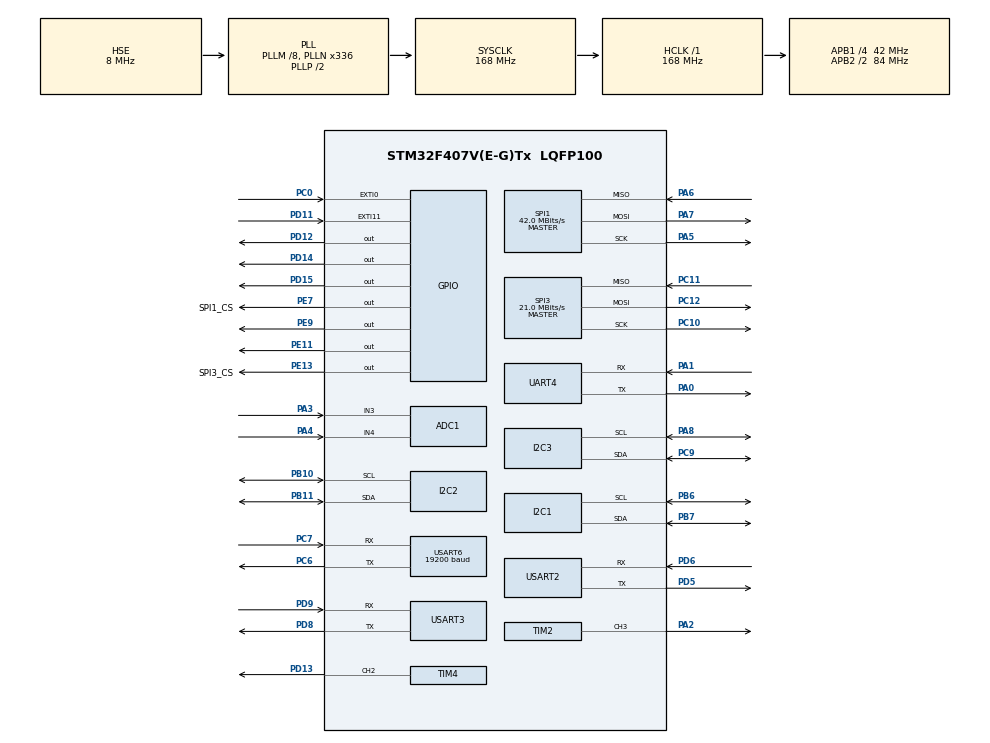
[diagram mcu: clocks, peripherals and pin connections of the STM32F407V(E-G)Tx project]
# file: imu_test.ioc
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ADC1.Channel-0\#ChannelRegularConversion=ADC_CHANNEL_3
ADC1.NbrOfConversionFlag=1
ADC1.Rank-0\#ChannelRegularConversion=1
ADC1.SamplingTime-0\#ChannelRegularConversion=ADC_SAMPLETIME_3CYCLES
ADC1.master=1
Dma.Request0=USART6_RX
Dma.USART6_RX.0.Direction=DMA_PERIPH_TO_MEMORY
Dma.USART6_RX.0.FIFOMode=DMA_FIFOMODE_DISABLE
Dma.USART6_RX.0.Instance=DMA2_Stream1
Dma.USART6_RX.0.MemDataAlignment=DMA_MDATAALIGN_BYTE
Dma.USART6_RX.0.MemInc=DMA_MINC_ENABLE
Dma.USART6_RX.0.Mode=DMA_NORMAL
Dma.USART6_RX.0.PeriphDataAlignment=DMA_PDATAALIGN_BYTE
Dma.USART6_RX.0.PeriphInc=DMA_PINC_DISABLE
Dma.USART6_RX.0.Priority=DMA_PRIORITY_LOW
Mcu.Family=STM32F4
Mcu.Name=STM32F407V(E-G)Tx
Mcu.Package=LQFP100
NVIC.DMA2_Stream1_IRQn=true\:0\:0\:false\:false\:true\:false
NVIC.PriorityGroup=NVIC_PRIORITYGROUP_4
NVIC.TIM8_TRG_COM_TIM14_IRQn=true\:0\:0\:false\:false\:true\:true
PA0-WKUP.Mode=Asynchronous
PA0-WKUP.Signal=UART4_TX
PA1.Mode=Asynchronous
PA1.Signal=UART4_RX
PA13.Mode=Trace_Asynchronous_SW
PA13.Signal=SYS_JTMS-SWDIO
PA14.Mode=Trace_Asynchronous_SW
PA14.Signal=SYS_JTCK-SWCLK
PA2.Signal=S_TIM2_CH3
PA3.Signal=ADCx_IN3
PA4.Signal=ADCx_IN4
PA5.Mode=Full_Duplex_Master
PA5.Signal=SPI1_SCK
PA6.Mode=Full_Duplex_Master
PA6.Signal=SPI1_MISO
PA7.Mode=Full_Duplex_Master
PA7.Signal=SPI1_MOSI
PA8.Mode=I2C
PA8.Signal=I2C3_SCL
PB10.Mode=I2C
PB10.Signal=I2C2_SCL
PB11.Mode=I2C
PB11.Signal=I2C2_SDA
PB3.Mode=Trace_Asynchronous_SW
PB3.Signal=SYS_JTDO-SWO
PB6.Mode=I2C
PB6.Signal=I2C1_SCL
PB7.Mode=I2C
PB7.Signal=I2C1_SDA
PC0.Signal=GPXTI0
PC10.Mode=Full_Duplex_Master
PC10.Signal=SPI3_SCK
PC11.Mode=Full_Duplex_Master
PC11.Signal=SPI3_MISO
PC12.Mode=Full_Duplex_Master
PC12.Signal=SPI3_MOSI
PC6.Mode=Asynchronous
PC6.Signal=USART6_TX
PC7.Mode=Asynchronous
PC7.Signal=USART6_RX
PC9.Mode=I2C
PC9.Signal=I2C3_SDA
PD11.Signal=GPXTI11
PD12.Signal=GPIO_Output
PD13.Signal=S_TIM4_CH2
PD14.Signal=GPIO_Output
PD15.Signal=GPIO_Output
PD5.Mode=Asynchronous
PD5.Signal=USART2_TX
PD6.Mode=Asynchronous
PD6.Signal=USART2_RX
PD8.Mode=Asynchronous
PD8.Signal=USART3_TX
PD9.Mode=Asynchronous
PD9.Signal=USART3_RX
PE11.Signal=GPIO_Output
PE13.GPIO_Label=SPI3_CS
PE13.GPIO_Speed=GPIO_SPEED_FREQ_VERY_HIGH
PE13.PinState=GPIO_PIN_SET
PE13.Signal=GPIO_Output
PE7.GPIO_Label=SPI1_CS
PE7.GPIO_Speed=GPIO_SPEED_FREQ_VERY_HIGH
PE7.PinState=GPIO_PIN_SET
PE7.Signal=GPIO_Output
PE9.Signal=GPIO_Output
PH0-OSC_IN.Mode=HSE-External-Oscillator
PH0-OSC_IN.Signal=RCC_OSC_IN
PH1-OSC_OUT.Mode=HSE-External-Oscillator
PH1-OSC_OUT.Signal=RCC_OSC_OUT
ProjectManager.HeapSize=0x200
ProjectManager.StackSize=0x400
ProjectManager.TargetToolchain=Makefile
RCC.48MHZClocksFreq_Value=84000000
RCC.AHBFreq_Value=168000000
RCC.APB1CLKDivider=RCC_HCLK_DIV4
RCC.APB1Freq_Value=42000000
RCC.APB1TimFreq_Value=84000000
RCC.APB2CLKDivider=RCC_HCLK_DIV2
RCC.APB2Freq_Value=84000000
RCC.APB2TimFreq_Value=168000000
RCC.CortexFreq_Value=168000000
RCC.HCLKFreq_Value=168000000
RCC.HSE_VALUE=8000000
RCC.HSI_VALUE=16000000
RCC.LSE_VALUE=32768
RCC.PLLM=8
RCC.PLLN=336
RCC.PLLSourceVirtual=RCC_PLLSOURCE_HSE
RCC.SYSCLKFreq_VALUE=168000000
RCC.SYSCLKSource=RCC_SYSCLKSOURCE_PLLCLK
RCC.VCOOutputFreq_Value=336000000
SH.ADCx_IN3.0=ADC1_IN3,IN3
SH.ADCx_IN4.0=ADC1_IN4,IN4
SH.S_TIM2_CH3.0=TIM2_CH3,PWM Generation3 CH3
SH.S_TIM4_CH2.0=TIM4_CH2,PWM Generation2 CH2
SPI1.BaudRatePrescaler=SPI_BAUDRATEPRESCALER_2
SPI1.CalculateBaudRate=42.0 MBits/s
SPI1.Direction=SPI_DIRECTION_2LINES
SPI1.Mode=SPI_MODE_MASTER
SPI1.VirtualType=VM_MASTER
SPI3.BaudRatePrescaler=SPI_BAUDRATEPRESCALER_2
SPI3.CalculateBaudRate=21.0 MBits/s
SPI3.Direction=SPI_DIRECTION_2LINES
SPI3.Mode=SPI_MODE_MASTER
SPI3.VirtualType=VM_MASTER
TIM14.Period=3999
TIM14.Prescaler=41999
TIM2.Channel-PWM\ Generation3\ CH3=TIM_CHANNEL_3
TIM4.Channel-PWM\ Generation2\ CH2=TIM_CHANNEL_2
UART4.VirtualMode=Asynchronous
USART2.VirtualMode=VM_ASYNC
USART3.VirtualMode=VM_ASYNC
USART6.BaudRate=19200
USART6.VirtualMode=VM_ASYNC
VP_TIM14_VS_ClockSourceINT.Mode=Enable_Timer
VP_TIM2_VS_ClockSourceINT.Mode=Internal
VP_TIM4_VS_ClockSourceINT.Mode=Internal
board=custom

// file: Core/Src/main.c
/**
  ******************************************************************************
  * @file           : main.c
  * @brief          : Main program body
  ******************************************************************************
  ** This notice applies to any and all portions of this file
  * that are not between comment pairs USER CODE BEGIN and
  * USER CODE END. Other portions of this file, whether
  * inserted by the user or by software development tools
  * are owned by their respective copyright owners.
  *
  * COPYRIGHT(c) 2018 STMicroelectronics
  *
  * Redistribution and use in source and binary forms, with or without modification,
  * are permitted provided that the following conditions are met:
  *   1. Redistributions of source code must retain the above copyright notice,
  *      this list of conditions and the following disclaimer.
  *   2. Redistributions in binary form must reproduce the above copyright notice,
  *      this list of conditions and the following disclaimer in the documentation
  *      and/or other materials provided with the distribution.
  *   3. Neither the name of STMicroelectronics nor the names of its contributors
  *      may be used to endorse or promote products derived from this software
  *      without specific prior written permission.
  *
  * THIS SOFTWARE IS PROVIDED BY THE COPYRIGHT HOLDERS AND CONTRIBUTORS "AS IS"
  * AND ANY EXPRESS OR IMPLIED WARRANTIES, INCLUDING, BUT NOT LIMITED TO, THE
  * IMPLIED WARRANTIES OF MERCHANTABILITY AND FITNESS FOR A PARTICULAR PURPOSE ARE
  * DISCLAIMED. IN NO EVENT SHALL THE COPYRIGHT HOLDER OR CONTRIBUTORS BE LIABLE
  * FOR ANY DIRECT, INDIRECT, INCIDENTAL, SPECIAL, EXEMPLARY, OR CONSEQUENTIAL
  * DAMAGES (INCLUDING, BUT NOT LIMITED TO, PROCUREMENT OF SUBSTITUTE GOODS OR
  * SERVICES; LOSS OF USE, DATA, OR PROFITS; OR BUSINESS INTERRUPTION) HOWEVER
  * CAUSED AND ON ANY THEORY OF LIABILITY, WHETHER IN CONTRACT, STRICT LIABILITY,
  * OR TORT (INCLUDING NEGLIGENCE OR OTHERWISE) ARISING IN ANY WAY OUT OF THE USE
  * OF THIS SOFTWARE, EVEN IF ADVISED OF THE POSSIBILITY OF SUCH DAMAGE.
  *
  ******************************************************************************
  */
#include "main.h"
#include "stm32f4xx_hal.h"
#include "adc.h"
#include "i2c.h"
#include "spi.h"
#include "tim.h"
#include "usart.h"
#include "gpio.h"

/* USER CODE BEGIN Includes */
#include "mpu6050.h"
/* USER CODE END Includes */

/* USER CODE BEGIN PV */
/* Private variables ---------------------------------------------------------*/

/* USER CODE END PV */

void SystemClock_Config(void);

/* USER CODE BEGIN PFP */
/* Private function prototypes -----------------------------------------------*/

/* USER CODE END PFP */

/* USER CODE BEGIN 0 */
int ITM_SendString(char *data, int len)
{
        int i = 0;
        for (; i < len; ++i)
        {
                ITM_SendChar(data[i]);
        }
        return i;
}

int _write(int file, char *data, int len)
{
        int sent = ITM_SendString(data, len);
        return sent;
}

struct MPU6050 mpu1;

void mpu1_Init()
{
        mpu1.hi2c = &hi2c1;
        mpu1.a_scale = SCALE_2G;
        mpu1.g_scale = SCALE_250;
        mpu1.address = 0xD0;
        MPU6050_Init(&mpu1);
}
/* USER CODE END 0 */

int main(void)
{

        /* MCU Configuration----------------------------------------------------------*/

        /* Reset of all peripherals, Initializes the Flash interface and the Systick. */
        HAL_Init();

        /* Configure the system clock */
        SystemClock_Config();

        /* Initialize all configured peripherals */
        MX_GPIO_Init();
        MX_ADC1_Init();
        MX_I2C1_Init();
        MX_I2C2_Init();
        MX_I2C3_Init();
        MX_SPI1_Init();
        MX_UART4_Init();
        MX_USART2_UART_Init();
        MX_USART3_UART_Init();
        MX_USART6_UART_Init();
        MX_TIM4_Init();
        MX_TIM2_Init();
        MX_SPI3_Init();
        MX_TIM14_Init();
        /* USER CODE BEGIN 2 */

        mpu1_Init();
        /* USER CODE END 2 */

        /* Infinite loop */
        while (1)
        {

                /* USER CODE BEGIN 3 */
                HAL_Delay(300);
        }
        /* USER CODE END 3 */
}

void SystemClock_Config(void)
{

        RCC_OscInitTypeDef RCC_OscInitStruct;
        RCC_ClkInitTypeDef RCC_ClkInitStruct;

        /**Configure the main internal regulator output voltage
    */
        __HAL_RCC_PWR_CLK_ENABLE();

        __HAL_PWR_VOLTAGESCALING_CONFIG(PWR_REGULATOR_VOLTAGE_SCALE1);

        /**Initializes the CPU, AHB and APB busses clocks
    */
        RCC_OscInitStruct.OscillatorType = RCC_OSCILLATORTYPE_HSE;
        RCC_OscInitStruct.HSEState = RCC_HSE_ON;
        RCC_OscInitStruct.PLL.PLLState = RCC_PLL_ON;
        RCC_OscInitStruct.PLL.PLLSource = RCC_PLLSOURCE_HSE;
        RCC_OscInitStruct.PLL.PLLM = 8;
        RCC_OscInitStruct.PLL.PLLN = 336;
        RCC_OscInitStruct.PLL.PLLP = RCC_PLLP_DIV2;
        RCC_OscInitStruct.PLL.PLLQ = 4;
        if (HAL_RCC_OscConfig(&RCC_OscInitStruct) != HAL_OK)
        {
                _Error_Handler(__FILE__, __LINE__);
        }

        /**Initializes the CPU, AHB and APB busses clocks
    */
        RCC_ClkInitStruct.ClockType = RCC_CLOCKTYPE_HCLK | RCC_CLOCKTYPE_SYSCLK | RCC_CLOCKTYPE_PCLK1 | RCC_CLOCKTYPE_PCLK2;
        RCC_ClkInitStruct.SYSCLKSource = RCC_SYSCLKSOURCE_PLLCLK;
        RCC_ClkInitStruct.AHBCLKDivider = RCC_SYSCLK_DIV1;
        RCC_ClkInitStruct.APB1CLKDivider = RCC_HCLK_DIV4;
        RCC_ClkInitStruct.APB2CLKDivider = RCC_HCLK_DIV2;

        if (HAL_RCC_ClockConfig(&RCC_ClkInitStruct, FLASH_LATENCY_5) != HAL_OK)
        {
                _Error_Handler(__FILE__, __LINE__);
        }

        /**Configure the Systick interrupt time
    */
        HAL_SYSTICK_Config(HAL_RCC_GetHCLKFreq() / 1000);

        /**Configure the Systick
    */
        HAL_SYSTICK_CLKSourceConfig(SYSTICK_CLKSOURCE_HCLK);

        /* SysTick_IRQn interrupt configuration */
        HAL_NVIC_SetPriority(SysTick_IRQn, 0, 0);
}

void _Error_Handler(char *file, int line)
{
        while (1)
        {
        }
}

/************************ (C) COPYRIGHT STMicroelectronics *****END OF FILE****/
